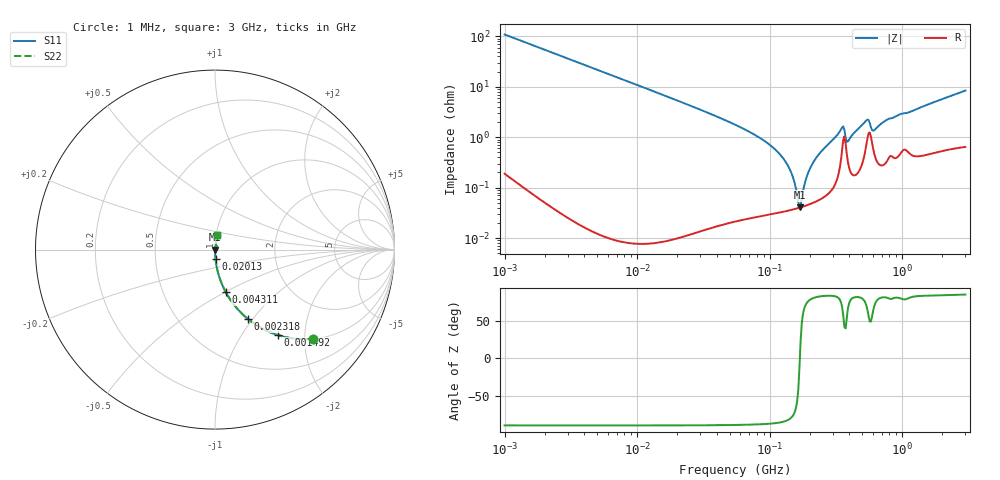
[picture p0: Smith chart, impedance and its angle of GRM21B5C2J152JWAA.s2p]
!Murata Part Number: GRM21B5C2J152JWAA
!These Parameters are Measured in Series Mode Connection
!Data Generated on Mar 30, 2021
!  o--ll--o
!Port1  Port2
!  o------o
!Operation Temp=25[degC], DC Bias Voltage=0[V]
!Freq. Start=1000[kHz] Stop=3[GHz] 401[Steps]
# Hz S RI R 50
!Freq.(Hz) S11(Real) S11(Imag) S21(Real) S21(Imag) S12(Real) S12(Imag) S22(Real) S22(Imag)
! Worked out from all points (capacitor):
!   401 points, 1 MHz to 3 GHz, reference 50 ohm
!   read as one part in series: C = 1.46 nF near 1.041 MHz
!   lowest |Z| = 40.8 mohm at 168 MHz (marker M1)
!   series resonance near 169 MHz, so ESL is about 610 pH
!   S11 on the Smith chart (normalised r, x): 1 MHz: 1.00, -2.18; 1.492 MHz: 1.00, -1.46; 2.318 MHz: 1.00, -0.94; 4.311 MHz: 1.00, -0.51; 20.13 MHz: 1.00, -0.11; 3 GHz: 1.01, +0.17
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1000000  0.5436 -0.4972  0.4564 0.4972  0.4564 0.4972  0.5436 -0.4972
1492300  0.3487 -0.476  0.6513 0.476  0.6513 0.476  0.3487 -0.476
2317916  0.1817 -0.3852  0.8183 0.3852  0.8183 0.3852  0.1817 -0.3852
3823119  0.0754 -0.2638  0.9246 0.2638  0.9246 0.2638  0.0754 -0.2638
4310966  0.0603 -0.2378  0.9397 0.2378  0.9397 0.2378  0.0603 -0.2378
1.461624e7  0.00554 -0.0737  0.9945 0.0737  0.9945 0.0737  0.00554 -0.0737
2.013356e7  0.00294 -0.0532  0.9971 0.0532  0.9971 0.0532  0.00294 -0.0532
5.477226e7  0.000528 -0.0178  0.9995 0.0178  0.9995 0.0178  0.000528 -0.0178
9.034013e7  0.000352 -0.00861  0.9996 0.00861  0.9996 0.00861  0.000352 -0.00861
1.219755e8  0.000343 -0.0043  0.9997 0.0043  0.9997 0.0043  0.000343 -0.0043
1.460522e8  0.000366 -0.0019  0.9996 0.0019  0.9996 0.0019  0.000366 -0.0019
1.680187e8  0.000401 -7.54e-05  0.9996 7.54e-05  0.9996 7.54e-05  0.000401 -7.54e-05
1.748812e8  0.000414 0.000449  0.9996 -0.000449  0.9996 -0.000449  0.000414 0.000449
1.93289e8  0.000455 0.00178  0.9995 -0.00178  0.9995 -0.00178  0.000455 0.00178
2.094008e8  0.000499 0.00287  0.9995 -0.00287  0.9995 -0.00287  0.000499 0.00287
3.453811e8  0.00376 0.0137  0.9962 -0.0137  0.9962 -0.0137  0.00376 0.0137
3.594878e8  0.00904 0.0135  0.991 -0.0135  0.991 -0.0135  0.00904 0.0135
3.894533e8  0.00331 0.0075  0.9967 -0.0075  0.9967 -0.0075  0.00331 0.0075
5.364635e8  0.00735 0.0201  0.9926 -0.0201  0.9926 -0.0201  0.00735 0.0201
6.171487e8  0.00474 0.013  0.9953 -0.013  0.9953 -0.013  0.00474 0.013
8.005644e8  0.00456 0.0228  0.9954 -0.0228  0.9954 -0.0228  0.00456 0.0228
3e9  0.0133 0.0823  0.9867 -0.0823  0.9867 -0.0823  0.0133 0.0823
